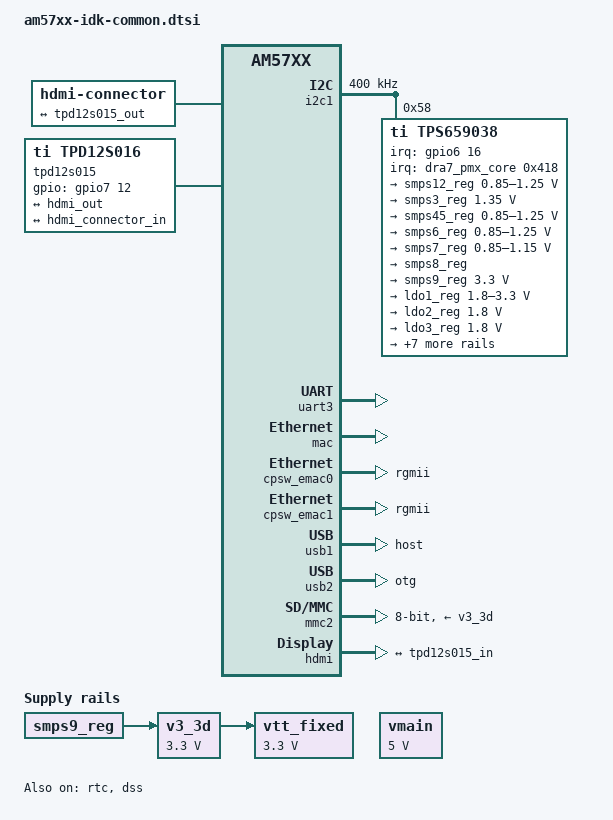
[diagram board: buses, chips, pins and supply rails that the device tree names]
/*
 * Copyright (C) 2015-2016 Texas Instruments Incorporated - http://www.ti.com/
 *
 * This program is free software; you can redistribute it and/or modify
 * it under the terms of the GNU General Public License version 2 as
 * published by the Free Software Foundation.
 */

/ {
	aliases {
		rtc0 = &tps659038_rtc;
		rtc1 = &rtc;
		display0 = &hdmi0;
		sound0 = &hdmi;
	};

	vmain: fixedregulator-vmain {
		compatible = "regulator-fixed";
		regulator-name = "VMAIN";
		regulator-min-microvolt = <5000000>;
		regulator-max-microvolt = <5000000>;
		regulator-always-on;
		regulator-boot-on;
	};

	v3_3d: fixedregulator-v3_3d {
		compatible = "regulator-fixed";
		regulator-name = "V3_3D";
		vin-supply = <&smps9_reg>;
		regulator-min-microvolt = <3300000>;
		regulator-max-microvolt = <3300000>;
		regulator-always-on;
		regulator-boot-on;
	};

	vtt_fixed: fixedregulator-vtt {
		/* TPS51200 */
		compatible = "regulator-fixed";
		regulator-name = "vtt_fixed";
		vin-supply = <&v3_3d>;
		regulator-min-microvolt = <3300000>;
		regulator-max-microvolt = <3300000>;
		regulator-always-on;
		regulator-boot-on;
	};

	hdmi0: connector@0 {
		compatible = "hdmi-connector";
		label = "hdmi";

		type = "a";

		port {
			hdmi_connector_in: endpoint {
				remote-endpoint = <&tpd12s015_out>;
			};
		};
	};

	tpd12s015: encoder@0 {
		compatible = "ti,tpd12s016", "ti,tpd12s015";

		gpios = <0>, /* optional CT_CP_HPD */
			<0>, /* optional LS_OE */
			<&gpio7 12 GPIO_ACTIVE_HIGH>;	/* HPD */

		ports {
			#address-cells = <1>;
			#size-cells = <0>;

			port@0 {
				reg = <0>;

				tpd12s015_in: endpoint@0 {
					remote-endpoint = <&hdmi_out>;
				};
			};

			port@1 {
				reg = <1>;

				tpd12s015_out: endpoint@0 {
					remote-endpoint = <&hdmi_connector_in>;
				};
			};
		};
	};

	src_clk_x1: src_clk_x1 {
		#clock-cells = <0>;
		compatible = "fixed-clock";
		clock-frequency = <20000000>;
	};
};

&i2c1 {
	status = "okay";
	clock-frequency = <400000>;

	tps659038: tps659038@58 {
		compatible = "ti,tps659038";
		reg = <0x58>;
		interrupts-extended = <&gpio6 16 IRQ_TYPE_LEVEL_HIGH
			       &dra7_pmx_core 0x418>;
		#interrupt-cells = <2>;
		interrupt-controller;
		ti,system-power-controller;

		tps659038_pmic {
			compatible = "ti,tps659038-pmic";
			regulators {
				smps12_reg: smps12 {
					/* VDD_MPU */
					vin-supply = <&vmain>;
					regulator-name = "smps12";
					regulator-min-microvolt = <850000>;
					regulator-max-microvolt = <1250000>;
					regulator-always-on;
					regulator-boot-on;
				};

				smps3_reg: smps3 {
					/* VDD_DDR EMIF1 EMIF2 */
					vin-supply = <&vmain>;
					regulator-name = "smps3";
					regulator-min-microvolt = <1350000>;
					regulator-max-microvolt = <1350000>;
					regulator-always-on;
					regulator-boot-on;
				};

				smps45_reg: smps45 {
					/* VDD_DSPEVE on AM572 */
					/* VDD_IVA + VDD_DSP on AM571 */
					vin-supply = <&vmain>;
					regulator-name = "smps45";
					regulator-min-microvolt = <850000>;
					regulator-max-microvolt = <1250000>;
					regulator-always-on;
					regulator-boot-on;
				};

				smps6_reg: smps6 {
					/* VDD_GPU */
					vin-supply = <&vmain>;
					regulator-name = "smps6";
					regulator-min-microvolt = <850000>;
					regulator-max-microvolt = <1250000>;
					regulator-always-on;
					regulator-boot-on;
				};

				smps7_reg: smps7 {
					/* VDD_CORE */
					vin-supply = <&vmain>;
					regulator-name = "smps7";
					regulator-min-microvolt = <850000>;
					regulator-max-microvolt = <1150000>;
					regulator-always-on;
					regulator-boot-on;
				};

				smps8_reg: smps8 {
					/* 5728 - VDD_IVAHD */
					/* 5718 - N.C. test point */
					vin-supply = <&vmain>;
					regulator-name = "smps8";
				};

				smps9_reg: smps9 {
					/* VDD_3_3D */
					vin-supply = <&vmain>;
					regulator-name = "smps9";
					regulator-min-microvolt = <3300000>;
					regulator-max-microvolt = <3300000>;
					regulator-always-on;
					regulator-boot-on;
				};

				ldo1_reg: ldo1 {
					/* VDDSHV8 - VSDMMC  */
					/* NOTE: on rev 1.3a, data supply */
					vin-supply = <&vmain>;
					regulator-name = "ldo1";
					regulator-min-microvolt = <1800000>;
					regulator-max-microvolt = <3300000>;
					regulator-boot-on;
					regulator-always-on;
				};

				ldo2_reg: ldo2 {
					/* VDDSH18V */
					vin-supply = <&vmain>;
					regulator-name = "ldo2";
					regulator-min-microvolt = <1800000>;
					regulator-max-microvolt = <1800000>;
					regulator-always-on;
					regulator-boot-on;
				};

				ldo3_reg: ldo3 {
					/* R1.2a 572x V1_8PHY: USB1,2,3, SATA, PCIE, HDMI */
					/* R1.3a 572x V1_8PHY_LDO3: USB, SATA */
					/* R1.2a 571x V1_8PHY_LDO3: USB1,2, CSI; V1_8PHYA: SATA */
					vin-supply = <&vmain>;
					regulator-name = "ldo3";
					regulator-min-microvolt = <1800000>;
					regulator-max-microvolt = <1800000>;
					regulator-always-on;
					regulator-boot-on;
				};

				ldo4_reg: ldo4 {
					/* R1.2a 572x - unused */
					/* R1.3a 572x V1_8PHY_LDO4: PCIE, HDMI */
					/* R1.2a 571x V1_8PHY_LDO4: V1_8PHYB: USB3, PCIE, HDMI */
					vin-supply = <&vmain>;
					regulator-name = "ldo4";
					regulator-min-microvolt = <1800000>;
					regulator-max-microvolt = <1800000>;
					regulator-always-on;
					regulator-boot-on;
				};

				/* LDO5-8 unused */

				ldo9_reg: ldo9 {
					/* VDD_RTC (unused in rev 1.3a am572x-idk) */
					vin-supply = <&vmain>;
					regulator-name = "ldo9";
					regulator-min-microvolt = <840000>;
					regulator-max-microvolt = <1160000>;
					regulator-always-on;
					regulator-boot-on;
				};

				ldoln_reg: ldoln {
					/* VDDA_1V8_PLL */
					vin-supply = <&vmain>;
					regulator-name = "ldoln";
					regulator-min-microvolt = <1800000>;
					regulator-max-microvolt = <1800000>;
					regulator-always-on;
					regulator-boot-on;
				};

				ldousb_reg: ldousb {
					/* VDDA_3V_USB: VDDA_USBHS33 */
					vin-supply = <&vmain>;
					regulator-name = "ldousb";
					regulator-min-microvolt = <3300000>;
					regulator-max-microvolt = <3300000>;
					regulator-always-on;
					regulator-boot-on;
				};

				ldortc_reg: ldortc {
					/* VDDA_RTC  (unused on rev am572x 1.3a) */
					vin-supply = <&vmain>;
					regulator-name = "ldortc";
					regulator-min-microvolt = <1800000>;
					regulator-max-microvolt = <1800000>;
					regulator-always-on;
					regulator-boot-on;
				};

				regen1: regen1 {
					/* VDD_3V3_ON */
					regulator-name = "regen1";
					regulator-boot-on;
					regulator-always-on;
				};

				regen2: regen2 {
					/* Needed for PMIC internal resource */
					regulator-name = "regen2";
					regulator-boot-on;
					regulator-always-on;
				};
			};
		};

		tps659038_rtc: tps659038_rtc {
			compatible = "ti,palmas-rtc";
			interrupt-parent = <&tps659038>;
			interrupts = <8 IRQ_TYPE_EDGE_FALLING>;
			wakeup-source;
		};

		tps659038_pwr_button: tps659038_pwr_button {
			compatible = "ti,palmas-pwrbutton";
			interrupt-parent = <&tps659038>;
			interrupts = <1 IRQ_TYPE_EDGE_FALLING>;
			wakeup-source;
			ti,palmas-long-press-seconds = <12>;
		};

		tps659038_gpio: tps659038_gpio {
			compatible = "ti,palmas-gpio";
			gpio-controller;
			#gpio-cells = <2>;
		};
	};

	tc358778: tc358778@0e {
		compatible = "toshiba,tc358778", "toshiba,tc358768";
		reg = <0x0e>;
		status = "disabled";

		clocks = <&src_clk_x1>;
		clock-names = "refclk";

		ports {
			#address-cells = <1>;
			#size-cells = <0>;

			port@0 {
				reg = <0>;
				tc358778_in: endpoint {
					remote-endpoint = <&dpi_out>;
					data-lines = <24>;
				};
			};

			port@1 {
				reg = <1>;
				tc358778_out: endpoint {
					/*
					 * lanes and remote-endpoint defined per
					 * panel.
					 */
				};
			};
		};
	};
};

&uart3 {
	status = "okay";
	interrupts-extended = <&crossbar_mpu GIC_SPI 69 IRQ_TYPE_LEVEL_HIGH
			       &dra7_pmx_core 0x248>;
};

&rtc {
	status = "okay";
	ext-clk-src;
};

&mac {
	status = "okay";
	dual_emac;
};

&cpsw_emac0 {
	phy_id = <&davinci_mdio>, <0>;
	phy-mode = "rgmii";
	dual_emac_res_vlan = <1>;
};

&cpsw_emac1 {
	phy_id = <&davinci_mdio>, <1>;
	phy-mode = "rgmii";
	dual_emac_res_vlan = <2>;
};

&usb2_phy1 {
	phy-supply = <&ldousb_reg>;
};

&usb2_phy2 {
	phy-supply = <&ldousb_reg>;
};

&usb1 {
	dr_mode = "host";
};

&usb2 {
	dr_mode = "otg";
};

&mmc2 {
	status = "okay";
	vmmc-supply = <&v3_3d>;
	bus-width = <8>;
	ti,non-removable;
	max-frequency = <96000000>;
};

&hdmi {
	status = "okay";
	/*
	 * XXX: Support AM572x-Rev 1.2a. this is wrong for AM571x-rev 1.3a,
	 * AM572x-Rev1.3a - but thanks to always-on, they work.
	 * TODO: SWITCH TO LDO4 once rev 1.2a is deprecated
	 * (on rev 1.3a availability)
	 */
	vdda-supply = <&ldo3_reg>;

	port {
		hdmi_out: endpoint {
			remote-endpoint = <&tpd12s015_in>;
		};
	};
};

&dss {
	status = "okay";

	vdda_video-supply = <&ldoln_reg>;

	ports {
		#address-cells = <1>;
		#size-cells = <0>;

		port@0 {
			reg = <0>;

			dpi_out: endpoint {
				remote-endpoint = <&tc358778_in>;
				data-lines = <24>;
			};
		};
	};
};

&mailbox3 {
	status = "okay";
	mbox_pru1_0: mbox_pru1_0 {
		status = "okay";
	};
	mbox_pru1_1: mbox_pru1_1 {
		status = "okay";
	};
};

&mailbox4 {
	status = "okay";
	mbox_pru2_0: mbox_pru2_0 {
		status = "okay";
	};
	mbox_pru2_1: mbox_pru2_1 {
		status = "okay";
	};
};
